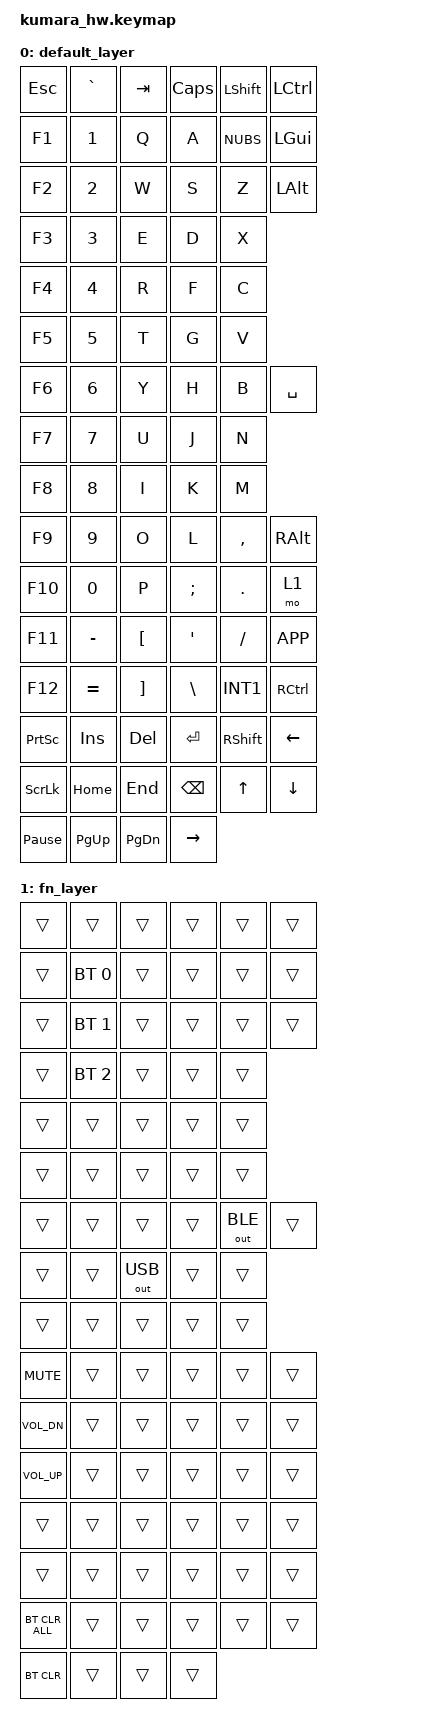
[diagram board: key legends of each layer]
#include <behaviors.dtsi>
#include <dt-bindings/zmk/bt.h>
#include <dt-bindings/zmk/keys.h>
#include <dt-bindings/zmk/outputs.h>

/ {
    keymap {
        compatible = "zmk,keymap";

        default_layer {
            bindings = <
                &kp ESC    &kp GRAVE  &kp TAB    &kp CAPS    &kp LSHFT  &kp LCTRL
                &kp F1     &kp N1     &kp Q      &kp A       &kp NUBS   &kp LGUI
                &kp F2     &kp N2     &kp W      &kp S       &kp Z      &kp LALT
                &kp F3     &kp N3     &kp E      &kp D       &kp X
                &kp F4     &kp N4     &kp R      &kp F       &kp C
                &kp F5     &kp N5     &kp T      &kp G       &kp V
                &kp F6     &kp N6     &kp Y      &kp H       &kp B      &kp SPACE
                &kp F7     &kp N7     &kp U      &kp J       &kp N
                &kp F8     &kp N8     &kp I      &kp K       &kp M
                &kp F9     &kp N9     &kp O      &kp L       &kp COMMA  &kp RALT
                &kp F10    &kp N0     &kp P      &kp SEMI    &kp DOT    &mo 1
                &kp F11    &kp MINUS  &kp LBKT   &kp SQT     &kp FSLH   &kp K_APP
                &kp F12    &kp EQUAL  &kp RBKT   &kp BSLH    &kp INT1   &kp RCTRL
                &kp PSCRN  &kp INS    &kp DEL    &kp ENTER   &kp RSHFT  &kp LEFT
                &kp SLCK   &kp HOME   &kp END    &kp BSPC    &kp UP     &kp DOWN
                &kp PAUSE_BREAK &kp PG_UP &kp PG_DN &kp RIGHT
            >;
        };

        fn_layer {
            bindings = <
                &trans &trans &trans &trans &trans &trans
                &trans &bt BT_SEL 0 &trans &trans &trans &trans
                &trans &bt BT_SEL 1 &trans &trans &trans &trans
                &trans &bt BT_SEL 2 &trans &trans &trans
                &trans &trans &trans &trans &trans
                &trans &trans &trans &trans &trans
                &trans &trans &trans &trans &out OUT_BLE &trans
                &trans &trans &out OUT_USB &trans &trans
                &trans &trans &trans &trans &trans
                &kp C_MUTE   &trans &trans &trans &trans &trans
                &kp C_VOL_DN &trans &trans &trans &trans &trans
                &kp C_VOL_UP &trans &trans &trans &trans &trans
                &trans &trans &trans &trans &trans &trans
                &trans &trans &trans &trans &trans &trans
                &bt BT_CLR_ALL &trans &trans &trans &trans &trans
                &bt BT_CLR &trans &trans &trans
            >;
        };
    };
};
